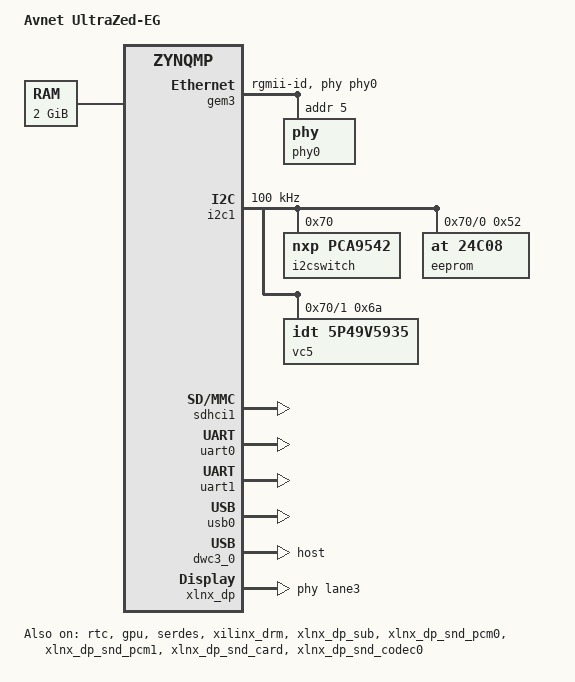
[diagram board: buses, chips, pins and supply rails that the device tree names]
/*
 * dts file for Avnet UltraZed-EG with IO carrier card
 *
 * (C) Copyright 2017, Mentor Graphics, Inc.
 *
 * Alexey Firago <alexey_firago@mentor.com>
 *
 * This program is free software; you can redistribute it and/or
 * modify it under the terms of the GNU General Public License as
 * published by the Free Software Foundation; either version 2 of
 * the License, or (at your option) any later version.
 */

/dts-v1/;

#include "zynqmp.dtsi"
#include "zynqmp-clk.dtsi"
#include <dt-bindings/gpio/gpio.h>
#include <dt-bindings/phy/phy.h>

/ {
	model = "Avnet UltraZed-EG";
	compatible = "xlnx,ultrazed", "xlnx,zynqmp";

	aliases {
		ethernet0 = &gem3;
		gpio0 = &gpio;
		i2c1 = &i2c1;
		mmc0 = &sdhci1;
		rtc0 = &rtc;
		serial0 = &uart0;
		serial1 = &uart1;
		usb0 = &usb0;
	};

	chosen {
		bootargs = "earlycon";
		stdout-path = "serial0:115200n8";
	};

	memory {
		device_type = "memory";
		reg = <0x0 0x0 0x0 0x80000000>;
	};
};

/* fpd_dma clk 667MHz, lpd_dma 500MHz */
&fpd_dma_chan1 {
	status = "okay";
	xlnx,include-sg; /* for testing purpose */
	xlnx,overfetch; /* for testing purpose */
	xlnx,ratectrl = <0>; /* for testing purpose */
	xlnx,src-issue = <31>;
};

&fpd_dma_chan2 {
	status = "okay";
	xlnx,ratectrl = <100>; /* for testing purpose */
	xlnx,src-issue = <4>; /* for testing purpose */
};

&fpd_dma_chan3 {
	status = "okay";
};

&fpd_dma_chan4 {
	status = "okay";
	xlnx,include-sg; /* for testing purpose */
};

&fpd_dma_chan5 {
	status = "okay";
};

&fpd_dma_chan6 {
	status = "okay";
	xlnx,include-sg; /* for testing purpose */
};

&fpd_dma_chan7 {
	status = "okay";
};

&fpd_dma_chan8 {
	status = "okay";
	xlnx,include-sg; /* for testing purpose */
};

&gem3 {
	status = "okay";
	local-mac-address = [00 0a 35 00 02 90];
	phy-handle = <&phy0>;
	phy-mode = "rgmii-id";
	phy0: phy@5 {
		reg = <0x5>;
		ti,rx-internal-delay = <0x5>;
		ti,tx-internal-delay = <0x5>;
		ti,fifo-depth = <0x1>;
	};
};

&rtc {
	status = "okay";
};

&gpu {
	status = "okay";
};

&i2c1 {
	clock-frequency = <100000>;
	status = "okay";
	
	i2cswitch@70 { 
		compatible = "nxp,pca9542";
		#address-cells = <1>;
		#size-cells = <0>;
		reg = <0x70>;
		
		i2c@0 { 
			#address-cells = <1>;
			#size-cells = <0>;
			reg = <0>;
			
			eeprom@52 {
				compatible = "at,24c08";
				reg = <0x52>;
			};
		};
		
		i2c@1 { 
			#address-cells = <1>;
			#size-cells = <0>;
			reg = <1>;
			
			vc5: clock-generator@6a {
				status = "okay";
				compatible = "idt,5p49v5935";
				reg = <0x6a>;
				#clock-cells = <1>;
			};
			
		};
	};
};

/* SD1 with level shifter */
&sdhci1 {
	status = "okay";
	max-frequency = <50000000>;
	no-1-8-v;	/* for 1.0 silicon */
};

&serdes {
	status = "okay";
};

&uart0 {
	status = "okay";
};

&uart1 {
	status = "okay";
};

&usb0 {
	status = "okay";
};

&dwc3_0 {
	status = "okay";
	dr_mode = "host";
	phy-names = "usb3-phy";
};

&xilinx_drm {
	status = "okay";
	clocks = <&vc5 4>;
};

&xlnx_dp {
	status = "okay";
	phy-names = "dp-phy0", "dp-phy1";
	phys = 	<&lane3 PHY_TYPE_DP 0 3 27000000>, 
			<&lane2 PHY_TYPE_DP 1 3 27000000>;
};

&xlnx_dp_sub {
	status = "okay";
	xlnx,vid-clk-pl;
};

&xlnx_dp_snd_pcm0 {
	status = "okay";
};

&xlnx_dp_snd_pcm1 {
	status = "okay";
};

&xlnx_dp_snd_card {
	status = "okay";
};

&xlnx_dp_snd_codec0 {
	status = "okay";
};

&xlnx_dpdma {
	status = "okay";
};
